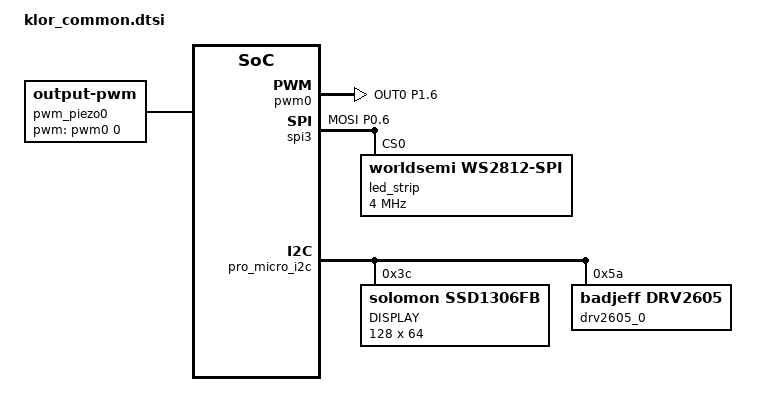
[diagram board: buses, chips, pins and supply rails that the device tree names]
/*
 * Copyright (c) 2022 The ZMK Contributors
 *
 * SPDX-License-Identifier: MIT
 */

#include <dt-bindings/zmk/matrix_transform.h>
#include <dt-bindings/led/led.h>
#include <dt-bindings/pwm/pwm.h>

/ {
	chosen {
		zephyr,display = &oled;
		zmk,kscan = &kscan0;
		zmk,underglow = &led_strip;
	};

	kscan0: kscan {
		compatible = "zmk,kscan-gpio-matrix";
		label = "KSCAN";

		diode-direction = "col2row";		
	};

	left_encoder: encoder_left {
		compatible = "alps,ec11";
		label = "LEFT_ENCODER";
	    a-gpios = <&pro_micro 21 (GPIO_ACTIVE_HIGH | GPIO_PULL_UP)>;
	    b-gpios = <&pro_micro 20 (GPIO_ACTIVE_HIGH | GPIO_PULL_UP)>;
		steps = <30>;
		status = "disabled";
	};

	right_encoder: encoder_right {
		compatible = "alps,ec11";
		label = "RIGHT_ENCODER";
	    a-gpios = <&pro_micro 20 (GPIO_ACTIVE_HIGH | GPIO_PULL_UP)>;
    	b-gpios = <&pro_micro 21 (GPIO_ACTIVE_HIGH | GPIO_PULL_UP)>;
		steps = <30>;
		status = "disabled";
	};

    sensors: sensors {
        compatible = "zmk,keymap-sensors";
        sensors = <&left_encoder &right_encoder>;
    };

    // Haptic feedback receive side - the dongle (central) triggers this
    // over BLE via zmk-split-peripheral-output-relay; drv2605_0 is
    // defined below in the pro_micro_i2c block. relay-channel 201 must
    // match klor_dongle.overlay's sender config exactly. Untested -
    // see MIGRATION_NOTES.md bring-up milestones.
    lra0: output_haptic_fb_0 {
        compatible = "zmk,output-haptic-feedback";
        #binding-cells = <0>;
        driver = "drv2605";
        device = <&drv2605_0>;
    };

    output_relay_config_201: output_relay_config_201 {
        compatible = "zmk,split-peripheral-output-relay";
        relay-channel = <201>;
        device = <&lra0>;
    };

    // Piezo beep receive side - same relay pattern as the haptic
    // feedback above, on a separate channel (202). pwm_piezo0 is
    // defined below via &pwm0. Untested - see MIGRATION_NOTES.md.
    pwm_piezo0: output_pwm_0 {
        compatible = "zmk,output-pwm";
        #binding-cells = <0>;
        /* 2kHz tone - audible range, not the 50Hz LED-dimming example
         * from zmk-output-behavior-listener's README */
        pwms = <&pwm0 0 PWM_HZ(2000) PWM_POLARITY_NORMAL>;
    };

    output_relay_config_202: output_relay_config_202 {
        compatible = "zmk,split-peripheral-output-relay";
        relay-channel = <202>;
        device = <&pwm_piezo0>;
    };
};

// Piezo (BZ1/BZ2 dual footprint, only one expected populated) on P1.06 -
// "last bottom pin from the left with USB-C on top, schematic pin 12"
// per hardware owner. PWM0 chosen since SPI3 (RGB) and the I2C TWIM
// bus (OLED/DRV2605) are already claimed - verify no conflict on your
// re-layout if bring-up shows otherwise.
&pinctrl {
	pwm0_default: pwm0_default {
		group1 {
			psels = <NRF_PSEL(PWM_OUT0, 1, 6)>;
		};
	};

	pwm0_sleep: pwm0_sleep {
		group1 {
			psels = <NRF_PSEL(PWM_OUT0, 1, 6)>;
			low-power-enable;
		};
	};
};

&pwm0 {
	status = "okay";
	pinctrl-0 = <&pwm0_default>;
	pinctrl-1 = <&pwm0_sleep>;
	pinctrl-names = "default", "sleep";
};

// RGB underglow (SK6812MINI-E x21, south-facing). This project only ever
// targets nice!nano v2 hardware, so this lives directly in the shared
// shield file rather than a boards/nice_nano_*.overlay per-board overlay -
// under ZMK's current Hardware Model V2 board naming, out-of-tree shields'
// boards/<board>.overlay auto-discovery for a plain "nice_nano" target no
// longer reliably triggers, so putting it here is both simpler and robust.
&pinctrl {
	spi3_default: spi3_default {
		group1 {
			psels = <NRF_PSEL(SPIM_MOSI, 0, 6)>;
		};
	};

	spi3_sleep: spi3_sleep {
		group1 {
			psels = <NRF_PSEL(SPIM_MOSI, 0, 6)>;
			low-power-enable;
		};
	};
};

&spi3 {
	compatible = "nordic,nrf-spim";
	status = "okay";

	pinctrl-0 = <&spi3_default>;
	pinctrl-1 = <&spi3_sleep>;
	pinctrl-names = "default", "sleep";

	led_strip: ws2812@0 {
		compatible = "worldsemi,ws2812-spi";

		/* SPI */
		reg = <0>; /* ignored, but necessary for SPI bindings */
		spi-max-frequency = <4000000>;

		/* WS2812 */
		chain-length = <21>; /* number of LEDs */
		spi-one-frame = <0x70>;
		spi-zero-frame = <0x40>;
		color-mapping = <LED_COLOR_ID_GREEN
		                 LED_COLOR_ID_RED
		                 LED_COLOR_ID_BLUE>;
	};
};

&pro_micro_i2c {
	status = "okay";

	oled: ssd1306@3c {
		compatible = "solomon,ssd1306fb";
		reg = <0x3c>;
		label = "DISPLAY";
		width = <128>;
		height = <64>;
		segment-offset = <0>;
		page-offset = <0>;
		display-offset = <0>;
		multiplex-ratio = <63>;
		prechargep = <0x22>;
      		inversion-on;
	};

	// DRV2605L (untested hardware) driving the AAC ELV1411A LRA. No
	// address collision with the SSD1306 above (0x5a vs 0x3c). Uses
	// badjeff/zmk-drv2605-driver (via BFotouh's fork, see west.yml) so
	// zmk-output-behavior-listener's DRV2605 trigger code has a
	// sensor_driver_api-compatible device to call into - Zephyr's own
	// native ti,drv2605 haptics driver compiles fine but that listener
	// code is hard-wired to this community driver's custom sensor
	// attributes (DRV2605_ATTR_WAVEFORM/GO), not the native haptics
	// API. LRA resonant-frequency/voltage calibration (~150Hz, 2Vrms)
	// isn't a devicetree property here either way - chip-internal
	// closed-loop auto-resonance handles it at runtime. See
	// MIGRATION_NOTES.md bring-up milestones - untested hardware.
	drv2605_0: drv2605@5a {
		compatible = "badjeff,drv2605";
		reg = <0x5a>;

		/* Library to use, 0 = Empty, 1-5 are ERM, 6 is LRA. */
		library = <6>;

		/* switch to standby mode after idling for 1000ms */
		standby-ms = <1000>;
	};
};
